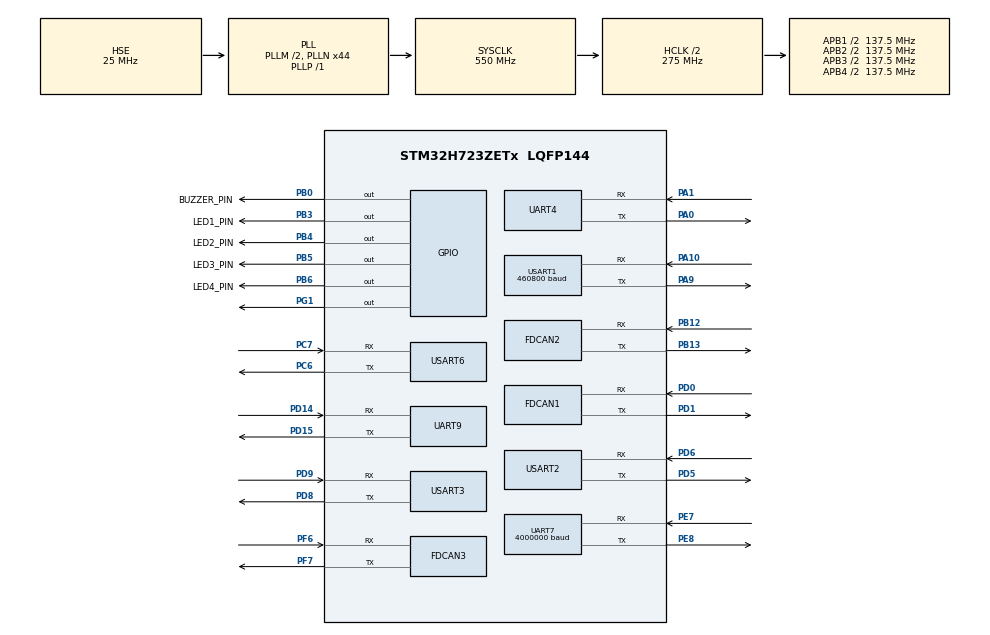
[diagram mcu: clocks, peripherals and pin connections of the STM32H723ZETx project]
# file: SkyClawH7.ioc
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CORTEX_M7.AccessPermission_S-Cortex_Memory_Protection_Unit_Region1_Settings_S=MPU_REGION_FULL_ACCESS
CORTEX_M7.AccessPermission_S-Cortex_Memory_Protection_Unit_Region2_Settings_S=MPU_REGION_FULL_ACCESS
CORTEX_M7.AccessPermission_Spec=MPU_REGION_FULL_ACCESS
CORTEX_M7.BaseAddress_S-Cortex_Memory_Protection_Unit_Region1_Settings_S=0x24040000
CORTEX_M7.BaseAddress_S-Cortex_Memory_Protection_Unit_Region2_Settings_S=0x30000000
CORTEX_M7.BaseAddress_Spec=0x24000000
CORTEX_M7.CPU_DCache=Enabled
CORTEX_M7.CPU_ICache=Enabled
CORTEX_M7.DisableExec_S-Cortex_Memory_Protection_Unit_Region1_Settings_S=MPU_INSTRUCTION_ACCESS_ENABLE
CORTEX_M7.DisableExec_S-Cortex_Memory_Protection_Unit_Region2_Settings_S=MPU_INSTRUCTION_ACCESS_DISABLE
CORTEX_M7.DisableExec_Spec=MPU_INSTRUCTION_ACCESS_ENABLE
CORTEX_M7.Enable_S-Cortex_Memory_Protection_Unit_Region1_Settings_S=MPU_REGION_ENABLE
CORTEX_M7.Enable_S-Cortex_Memory_Protection_Unit_Region2_Settings_S=MPU_REGION_ENABLE
CORTEX_M7.IsBufferable_S-Cortex_Memory_Protection_Unit_Region1_Settings_S=MPU_ACCESS_BUFFERABLE
CORTEX_M7.IsBufferable_S-Cortex_Memory_Protection_Unit_Region2_Settings_S=MPU_ACCESS_NOT_BUFFERABLE
CORTEX_M7.IsBufferable_Spec=MPU_ACCESS_BUFFERABLE
CORTEX_M7.IsCacheable_S-Cortex_Memory_Protection_Unit_Region1_Settings_S=MPU_ACCESS_CACHEABLE
CORTEX_M7.IsCacheable_S-Cortex_Memory_Protection_Unit_Region2_Settings_S=MPU_ACCESS_NOT_CACHEABLE
CORTEX_M7.IsCacheable_Spec=MPU_ACCESS_CACHEABLE
CORTEX_M7.IsShareable_S-Cortex_Memory_Protection_Unit_Region1_Settings_S=MPU_ACCESS_NOT_SHAREABLE
CORTEX_M7.IsShareable_S-Cortex_Memory_Protection_Unit_Region2_Settings_S=MPU_ACCESS_NOT_SHAREABLE
CORTEX_M7.IsShareable_Spec=MPU_ACCESS_NOT_SHAREABLE
CORTEX_M7.Size_S-Cortex_Memory_Protection_Unit_Region1_Settings_S=MPU_REGION_SIZE_64KB
CORTEX_M7.Size_S-Cortex_Memory_Protection_Unit_Region2_Settings_S=MPU_REGION_SIZE_32KB
CORTEX_M7.Size_Spec=MPU_REGION_SIZE_256KB
CORTEX_M7.SubRegionDisable_S-Cortex_Memory_Protection_Unit_Region1_Settings_S=0
CORTEX_M7.SubRegionDisable_S-Cortex_Memory_Protection_Unit_Region2_Settings_S=0
CORTEX_M7.SubRegionDisable_Spec=0
CORTEX_M7.TypeExtField_S-Cortex_Memory_Protection_Unit_Region1_Settings_S=MPU_TEX_LEVEL1
CORTEX_M7.TypeExtField_S-Cortex_Memory_Protection_Unit_Region2_Settings_S=MPU_TEX_LEVEL1
CORTEX_M7.TypeExtField_Spec=MPU_TEX_LEVEL1
CORTEX_M7.default_mode_Activation=1
Dma.Request0=UART4_RX
Dma.Request1=UART4_TX
Dma.Request10=USART6_RX
Dma.Request11=USART6_TX
Dma.Request2=UART7_RX
Dma.Request3=UART7_TX
Dma.Request4=UART9_RX
Dma.Request5=UART9_TX
Dma.Request6=USART1_RX
Dma.Request7=USART1_TX
Dma.Request8=USART3_RX
Dma.Request9=USART3_TX
Dma.UART4_RX.0.Direction=DMA_PERIPH_TO_MEMORY
Dma.UART4_RX.0.EventEnable=DISABLE
Dma.UART4_RX.0.FIFOMode=DMA_FIFOMODE_DISABLE
Dma.UART4_RX.0.Instance=DMA1_Stream0
Dma.UART4_RX.0.MemDataAlignment=DMA_MDATAALIGN_BYTE
Dma.UART4_RX.0.MemInc=DMA_MINC_ENABLE
Dma.UART4_RX.0.Mode=DMA_NORMAL
Dma.UART4_RX.0.PeriphDataAlignment=DMA_PDATAALIGN_BYTE
Dma.UART4_RX.0.PeriphInc=DMA_PINC_DISABLE
Dma.UART4_RX.0.Polarity=HAL_DMAMUX_REQ_GEN_RISING
Dma.UART4_RX.0.Priority=DMA_PRIORITY_LOW
Dma.UART4_RX.0.RequestNumber=1
Dma.UART4_RX.0.SignalID=NONE
Dma.UART4_RX.0.SyncEnable=DISABLE
Dma.UART4_RX.0.SyncPolarity=HAL_DMAMUX_SYNC_NO_EVENT
Dma.UART4_RX.0.SyncRequestNumber=1
Dma.UART4_RX.0.SyncSignalID=NONE
Dma.UART4_TX.1.Direction=DMA_MEMORY_TO_PERIPH
Dma.UART4_TX.1.EventEnable=DISABLE
Dma.UART4_TX.1.FIFOMode=DMA_FIFOMODE_DISABLE
Dma.UART4_TX.1.Instance=DMA1_Stream1
Dma.UART4_TX.1.MemDataAlignment=DMA_MDATAALIGN_BYTE
Dma.UART4_TX.1.MemInc=DMA_MINC_ENABLE
Dma.UART4_TX.1.Mode=DMA_NORMAL
Dma.UART4_TX.1.PeriphDataAlignment=DMA_PDATAALIGN_BYTE
Dma.UART4_TX.1.PeriphInc=DMA_PINC_DISABLE
Dma.UART4_TX.1.Polarity=HAL_DMAMUX_REQ_GEN_RISING
Dma.UART4_TX.1.Priority=DMA_PRIORITY_LOW
Dma.UART4_TX.1.RequestNumber=1
Dma.UART4_TX.1.SignalID=NONE
Dma.UART4_TX.1.SyncEnable=DISABLE
Dma.UART4_TX.1.SyncPolarity=HAL_DMAMUX_SYNC_NO_EVENT
Dma.UART4_TX.1.SyncRequestNumber=1
Dma.UART4_TX.1.SyncSignalID=NONE
Dma.UART7_RX.2.Direction=DMA_PERIPH_TO_MEMORY
Dma.UART7_RX.2.EventEnable=DISABLE
Dma.UART7_RX.2.FIFOMode=DMA_FIFOMODE_ENABLE
Dma.UART7_RX.2.FIFOThreshold=DMA_FIFO_THRESHOLD_FULL
Dma.UART7_RX.2.Instance=DMA1_Stream2
Dma.UART7_RX.2.MemBurst=DMA_MBURST_SINGLE
Dma.UART7_RX.2.MemDataAlignment=DMA_MDATAALIGN_BYTE
Dma.UART7_RX.2.MemInc=DMA_MINC_ENABLE
Dma.UART7_RX.2.Mode=DMA_CIRCULAR
Dma.UART7_RX.2.PeriphBurst=DMA_PBURST_SINGLE
Dma.UART7_RX.2.PeriphDataAlignment=DMA_PDATAALIGN_BYTE
Dma.UART7_RX.2.PeriphInc=DMA_PINC_DISABLE
Dma.UART7_RX.2.Polarity=HAL_DMAMUX_REQ_GEN_RISING
Dma.UART7_RX.2.Priority=DMA_PRIORITY_VERY_HIGH
Dma.UART7_RX.2.RequestNumber=1
Dma.UART7_RX.2.SignalID=NONE
Dma.UART7_RX.2.SyncEnable=DISABLE
Dma.UART7_RX.2.SyncPolarity=HAL_DMAMUX_SYNC_NO_EVENT
Dma.UART7_RX.2.SyncRequestNumber=1
Dma.UART7_RX.2.SyncSignalID=NONE
Dma.UART7_TX.3.Direction=DMA_MEMORY_TO_PERIPH
Dma.UART7_TX.3.EventEnable=DISABLE
Dma.UART7_TX.3.FIFOMode=DMA_FIFOMODE_ENABLE
Dma.UART7_TX.3.FIFOThreshold=DMA_FIFO_THRESHOLD_FULL
Dma.UART7_TX.3.Instance=DMA1_Stream3
Dma.UART7_TX.3.MemBurst=DMA_MBURST_SINGLE
Dma.UART7_TX.3.MemDataAlignment=DMA_MDATAALIGN_BYTE
Dma.UART7_TX.3.MemInc=DMA_MINC_ENABLE
Dma.UART7_TX.3.Mode=DMA_NORMAL
Dma.UART7_TX.3.PeriphBurst=DMA_PBURST_SINGLE
Dma.UART7_TX.3.PeriphDataAlignment=DMA_PDATAALIGN_BYTE
Dma.UART7_TX.3.PeriphInc=DMA_PINC_DISABLE
Dma.UART7_TX.3.Polarity=HAL_DMAMUX_REQ_GEN_RISING
Dma.UART7_TX.3.Priority=DMA_PRIORITY_VERY_HIGH
Dma.UART7_TX.3.RequestNumber=1
Dma.UART7_TX.3.SignalID=NONE
Dma.UART7_TX.3.SyncEnable=DISABLE
Dma.UART7_TX.3.SyncPolarity=HAL_DMAMUX_SYNC_NO_EVENT
Dma.UART7_TX.3.SyncRequestNumber=1
Dma.UART7_TX.3.SyncSignalID=NONE
Dma.UART9_RX.4.Direction=DMA_PERIPH_TO_MEMORY
Dma.UART9_RX.4.EventEnable=DISABLE
Dma.UART9_RX.4.FIFOMode=DMA_FIFOMODE_DISABLE
Dma.UART9_RX.4.Instance=DMA1_Stream4
Dma.UART9_RX.4.MemDataAlignment=DMA_MDATAALIGN_BYTE
Dma.UART9_RX.4.MemInc=DMA_MINC_ENABLE
Dma.UART9_RX.4.Mode=DMA_NORMAL
Dma.UART9_RX.4.PeriphDataAlignment=DMA_PDATAALIGN_BYTE
Dma.UART9_RX.4.PeriphInc=DMA_PINC_DISABLE
Dma.UART9_RX.4.Polarity=HAL_DMAMUX_REQ_GEN_RISING
Dma.UART9_RX.4.Priority=DMA_PRIORITY_LOW
Dma.UART9_RX.4.RequestNumber=1
Dma.UART9_RX.4.SignalID=NONE
Dma.UART9_RX.4.SyncEnable=DISABLE
Dma.UART9_RX.4.SyncPolarity=HAL_DMAMUX_SYNC_NO_EVENT
Dma.UART9_RX.4.SyncRequestNumber=1
Dma.UART9_RX.4.SyncSignalID=NONE
Dma.UART9_TX.5.Direction=DMA_MEMORY_TO_PERIPH
Dma.UART9_TX.5.EventEnable=DISABLE
Dma.UART9_TX.5.FIFOMode=DMA_FIFOMODE_DISABLE
Dma.UART9_TX.5.Instance=DMA1_Stream5
Dma.UART9_TX.5.MemDataAlignment=DMA_MDATAALIGN_BYTE
Dma.UART9_TX.5.MemInc=DMA_MINC_ENABLE
Dma.UART9_TX.5.Mode=DMA_NORMAL
Dma.UART9_TX.5.PeriphDataAlignment=DMA_PDATAALIGN_BYTE
Dma.UART9_TX.5.PeriphInc=DMA_PINC_DISABLE
Dma.UART9_TX.5.Polarity=HAL_DMAMUX_REQ_GEN_RISING
Dma.UART9_TX.5.Priority=DMA_PRIORITY_LOW
Dma.UART9_TX.5.RequestNumber=1
Dma.UART9_TX.5.SignalID=NONE
Dma.UART9_TX.5.SyncEnable=DISABLE
Dma.UART9_TX.5.SyncPolarity=HAL_DMAMUX_SYNC_NO_EVENT
Dma.UART9_TX.5.SyncRequestNumber=1
Dma.UART9_TX.5.SyncSignalID=NONE
Dma.USART1_RX.6.Direction=DMA_PERIPH_TO_MEMORY
Dma.USART1_RX.6.EventEnable=DISABLE
Dma.USART1_RX.6.FIFOMode=DMA_FIFOMODE_DISABLE
Dma.USART1_RX.6.Instance=DMA1_Stream6
Dma.USART1_RX.6.MemDataAlignment=DMA_MDATAALIGN_BYTE
Dma.USART1_RX.6.MemInc=DMA_MINC_ENABLE
Dma.USART1_RX.6.Mode=DMA_NORMAL
Dma.USART1_RX.6.PeriphDataAlignment=DMA_PDATAALIGN_BYTE
Dma.USART1_RX.6.PeriphInc=DMA_PINC_DISABLE
Dma.USART1_RX.6.Polarity=HAL_DMAMUX_REQ_GEN_RISING
Dma.USART1_RX.6.Priority=DMA_PRIORITY_MEDIUM
Dma.USART1_RX.6.RequestNumber=1
Dma.USART1_RX.6.SignalID=NONE
Dma.USART1_RX.6.SyncEnable=DISABLE
Dma.USART1_RX.6.SyncPolarity=HAL_DMAMUX_SYNC_NO_EVENT
Dma.USART1_RX.6.SyncRequestNumber=1
Dma.USART1_RX.6.SyncSignalID=NONE
Dma.USART1_TX.7.Direction=DMA_MEMORY_TO_PERIPH
Dma.USART1_TX.7.EventEnable=DISABLE
Dma.USART1_TX.7.FIFOMode=DMA_FIFOMODE_DISABLE
Dma.USART1_TX.7.Instance=DMA1_Stream7
Dma.USART1_TX.7.MemDataAlignment=DMA_MDATAALIGN_BYTE
Dma.USART1_TX.7.MemInc=DMA_MINC_ENABLE
Dma.USART1_TX.7.Mode=DMA_NORMAL
Dma.USART1_TX.7.PeriphDataAlignment=DMA_PDATAALIGN_BYTE
Dma.USART1_TX.7.PeriphInc=DMA_PINC_DISABLE
Dma.USART1_TX.7.Polarity=HAL_DMAMUX_REQ_GEN_RISING
Dma.USART1_TX.7.Priority=DMA_PRIORITY_MEDIUM
Dma.USART1_TX.7.RequestNumber=1
Dma.USART1_TX.7.SignalID=NONE
Dma.USART1_TX.7.SyncEnable=DISABLE
Dma.USART1_TX.7.SyncPolarity=HAL_DMAMUX_SYNC_NO_EVENT
Dma.USART1_TX.7.SyncRequestNumber=1
Dma.USART1_TX.7.SyncSignalID=NONE
Dma.USART3_RX.8.Direction=DMA_PERIPH_TO_MEMORY
Dma.USART3_RX.8.EventEnable=DISABLE
Dma.USART3_RX.8.FIFOMode=DMA_FIFOMODE_DISABLE
Dma.USART3_RX.8.Instance=DMA2_Stream0
Dma.USART3_RX.8.MemDataAlignment=DMA_MDATAALIGN_BYTE
Dma.USART3_RX.8.MemInc=DMA_MINC_ENABLE
Dma.USART3_RX.8.Mode=DMA_NORMAL
Dma.USART3_RX.8.PeriphDataAlignment=DMA_PDATAALIGN_BYTE
Dma.USART3_RX.8.PeriphInc=DMA_PINC_DISABLE
Dma.USART3_RX.8.Polarity=HAL_DMAMUX_REQ_GEN_RISING
Dma.USART3_RX.8.Priority=DMA_PRIORITY_MEDIUM
Dma.USART3_RX.8.RequestNumber=1
Dma.USART3_RX.8.SignalID=NONE
Dma.USART3_RX.8.SyncEnable=DISABLE
Dma.USART3_RX.8.SyncPolarity=HAL_DMAMUX_SYNC_NO_EVENT
Dma.USART3_RX.8.SyncRequestNumber=1
Dma.USART3_RX.8.SyncSignalID=NONE
Dma.USART3_TX.9.Direction=DMA_MEMORY_TO_PERIPH
Dma.USART3_TX.9.EventEnable=DISABLE
Dma.USART3_TX.9.FIFOMode=DMA_FIFOMODE_DISABLE
Dma.USART3_TX.9.Instance=DMA2_Stream1
Dma.USART3_TX.9.MemDataAlignment=DMA_MDATAALIGN_BYTE
Dma.USART3_TX.9.MemInc=DMA_MINC_ENABLE
Dma.USART3_TX.9.Mode=DMA_NORMAL
Dma.USART3_TX.9.PeriphDataAlignment=DMA_PDATAALIGN_BYTE
Dma.USART3_TX.9.PeriphInc=DMA_PINC_DISABLE
Dma.USART3_TX.9.Polarity=HAL_DMAMUX_REQ_GEN_RISING
Dma.USART3_TX.9.Priority=DMA_PRIORITY_LOW
Dma.USART3_TX.9.RequestNumber=1
Dma.USART3_TX.9.SignalID=NONE
Dma.USART3_TX.9.SyncEnable=DISABLE
Dma.USART3_TX.9.SyncPolarity=HAL_DMAMUX_SYNC_NO_EVENT
Dma.USART3_TX.9.SyncRequestNumber=1
Dma.USART3_TX.9.SyncSignalID=NONE
Dma.USART6_RX.10.Direction=DMA_PERIPH_TO_MEMORY
Dma.USART6_RX.10.EventEnable=DISABLE
Dma.USART6_RX.10.FIFOMode=DMA_FIFOMODE_DISABLE
Dma.USART6_RX.10.Instance=DMA2_Stream2
Dma.USART6_RX.10.MemDataAlignment=DMA_MDATAALIGN_BYTE
Dma.USART6_RX.10.MemInc=DMA_MINC_ENABLE
Dma.USART6_RX.10.Mode=DMA_NORMAL
Dma.USART6_RX.10.PeriphDataAlignment=DMA_PDATAALIGN_BYTE
Dma.USART6_RX.10.PeriphInc=DMA_PINC_DISABLE
Dma.USART6_RX.10.Polarity=HAL_DMAMUX_REQ_GEN_RISING
Dma.USART6_RX.10.Priority=DMA_PRIORITY_HIGH
Dma.USART6_RX.10.RequestNumber=1
Dma.USART6_RX.10.SignalID=NONE
Dma.USART6_RX.10.SyncEnable=DISABLE
Dma.USART6_RX.10.SyncPolarity=HAL_DMAMUX_SYNC_NO_EVENT
Dma.USART6_RX.10.SyncRequestNumber=1
Dma.USART6_RX.10.SyncSignalID=NONE
Dma.USART6_TX.11.Direction=DMA_MEMORY_TO_PERIPH
Dma.USART6_TX.11.EventEnable=DISABLE
Dma.USART6_TX.11.FIFOMode=DMA_FIFOMODE_DISABLE
Dma.USART6_TX.11.Instance=DMA2_Stream3
Dma.USART6_TX.11.MemDataAlignment=DMA_MDATAALIGN_BYTE
Dma.USART6_TX.11.MemInc=DMA_MINC_ENABLE
Dma.USART6_TX.11.Mode=DMA_NORMAL
Dma.USART6_TX.11.PeriphDataAlignment=DMA_PDATAALIGN_BYTE
Dma.USART6_TX.11.PeriphInc=DMA_PINC_DISABLE
Dma.USART6_TX.11.Polarity=HAL_DMAMUX_REQ_GEN_RISING
Dma.USART6_TX.11.Priority=DMA_PRIORITY_MEDIUM
Dma.USART6_TX.11.RequestNumber=1
Dma.USART6_TX.11.SignalID=NONE
Dma.USART6_TX.11.SyncEnable=DISABLE
Dma.USART6_TX.11.SyncPolarity=HAL_DMAMUX_SYNC_NO_EVENT
Dma.USART6_TX.11.SyncRequestNumber=1
Dma.USART6_TX.11.SyncSignalID=NONE
FDCAN1.AutoRetransmission=DISABLE
FDCAN1.CalculateBaudRateNominal=1000000
FDCAN1.CalculateTimeBitNominal=1000
FDCAN1.CalculateTimeQuantumNominal=25.0
FDCAN1.DataSyncJumpWidth=5
FDCAN1.DataTimeSeg1=29
FDCAN1.DataTimeSeg2=10
FDCAN1.ExtFiltersNbr=16
FDCAN1.NominalPrescaler=1
FDCAN1.NominalSyncJumpWidth=5
FDCAN1.NominalTimeSeg1=29
FDCAN1.NominalTimeSeg2=10
FDCAN1.RxFifo0ElmtsNbr=32
FDCAN1.RxFifo1ElmtsNbr=32
FDCAN1.StdFiltersNbr=16
FDCAN1.TxBuffersNbr=0
FDCAN1.TxFifoQueueElmtsNbr=24
FDCAN2.CalculateBaudRateNominal=1000000
FDCAN2.CalculateTimeBitNominal=1000
FDCAN2.CalculateTimeQuantumNominal=25.0
FDCAN2.DataSyncJumpWidth=5
FDCAN2.DataTimeSeg1=29
FDCAN2.DataTimeSeg2=10
FDCAN2.ExtFiltersNbr=16
FDCAN2.MessageRAMOffset=850
FDCAN2.NominalPrescaler=1
FDCAN2.NominalSyncJumpWidth=5
FDCAN2.NominalTimeSeg1=29
FDCAN2.NominalTimeSeg2=10
FDCAN2.RxFifo0ElmtsNbr=32
FDCAN2.RxFifo1ElmtsNbr=32
FDCAN2.StdFiltersNbr=16
FDCAN2.TxBuffersNbr=0
FDCAN2.TxFifoQueueElmtsNbr=24
FDCAN3.CalculateBaudRateNominal=1000000
FDCAN3.CalculateTimeBitNominal=1000
FDCAN3.CalculateTimeQuantumNominal=25.0
FDCAN3.DataSyncJumpWidth=5
FDCAN3.DataTimeSeg1=29
FDCAN3.DataTimeSeg2=10
FDCAN3.ExtFiltersNbr=16
FDCAN3.MessageRAMOffset=1700
FDCAN3.NominalPrescaler=1
FDCAN3.NominalSyncJumpWidth=5
FDCAN3.NominalTimeSeg1=29
FDCAN3.NominalTimeSeg2=10
FDCAN3.RxFifo0ElmtsNbr=32
FDCAN3.RxFifo1ElmtsNbr=32
FDCAN3.StdFiltersNbr=16
FDCAN3.TxBuffersNbr=0
FDCAN3.TxFifoQueueElmtsNbr=24
FREERTOS.Tasks01=AlarmTask,16,106,Alarm_Task,As weak,NULL,Dynamic,NULL,NULL
FREERTOS.configMINIMAL_STACK_SIZE=64
FREERTOS.configTIMER_TASK_STACK_DEPTH=256
Mcu.Family=STM32H7
Mcu.Name=STM32H723ZETx
Mcu.Package=LQFP144
NVIC.DMA1_Stream0_IRQn=true\:5\:0\:false\:false\:true\:true\:false\:true\:true
NVIC.DMA1_Stream1_IRQn=true\:5\:0\:false\:false\:true\:true\:false\:true\:true
NVIC.DMA1_Stream2_IRQn=true\:5\:0\:false\:false\:true\:true\:false\:true\:true
NVIC.DMA1_Stream3_IRQn=true\:5\:0\:false\:false\:true\:true\:false\:true\:true
NVIC.DMA1_Stream4_IRQn=true\:5\:0\:false\:false\:true\:true\:false\:true\:true
NVIC.DMA1_Stream5_IRQn=true\:5\:0\:false\:false\:true\:true\:false\:true\:true
NVIC.DMA1_Stream6_IRQn=true\:5\:0\:false\:false\:true\:true\:false\:true\:true
NVIC.DMA1_Stream7_IRQn=true\:5\:0\:false\:false\:true\:true\:false\:true\:true
NVIC.DMA2_Stream0_IRQn=true\:5\:0\:false\:false\:true\:true\:false\:true\:true
NVIC.DMA2_Stream1_IRQn=true\:5\:0\:false\:false\:true\:true\:false\:true\:true
NVIC.DMA2_Stream2_IRQn=true\:5\:0\:false\:false\:true\:true\:false\:true\:true
NVIC.DMA2_Stream3_IRQn=true\:5\:0\:false\:false\:true\:true\:false\:true\:true
NVIC.FDCAN1_IT0_IRQn=true\:5\:0\:false\:false\:true\:true\:true\:true\:true
NVIC.FDCAN1_IT1_IRQn=true\:5\:0\:false\:false\:true\:true\:true\:true\:true
NVIC.FDCAN2_IT0_IRQn=true\:5\:0\:false\:false\:true\:true\:true\:true\:true
NVIC.FDCAN2_IT1_IRQn=true\:5\:0\:false\:false\:true\:true\:true\:true\:true
NVIC.FDCAN3_IT0_IRQn=true\:5\:0\:false\:false\:true\:true\:true\:true\:true
NVIC.FDCAN3_IT1_IRQn=true\:5\:0\:false\:false\:true\:true\:true\:true\:true
NVIC.PriorityGroup=NVIC_PRIORITYGROUP_4
NVIC.TIM1_UP_IRQn=true\:15\:0\:false\:false\:true\:false\:false\:true\:true
NVIC.TIM2_IRQn=true\:5\:0\:false\:false\:true\:true\:true\:true\:true
NVIC.TIM3_IRQn=true\:5\:0\:false\:false\:true\:true\:true\:true\:true
NVIC.TIM4_IRQn=true\:5\:0\:false\:false\:true\:true\:true\:true\:true
NVIC.TimeBase=TIM1_UP_IRQn
NVIC.TimeBaseIP=TIM1
NVIC.UART4_IRQn=true\:5\:0\:false\:false\:true\:true\:true\:true\:true
NVIC.UART7_IRQn=true\:5\:0\:false\:false\:true\:true\:true\:true\:true
NVIC.UART9_IRQn=true\:5\:0\:false\:false\:true\:true\:true\:true\:true
NVIC.USART1_IRQn=true\:5\:0\:false\:false\:true\:true\:true\:true\:true
NVIC.USART2_IRQn=true\:5\:0\:false\:false\:true\:true\:true\:true\:true
NVIC.USART3_IRQn=true\:5\:0\:false\:false\:true\:true\:true\:true\:true
NVIC.USART6_IRQn=true\:5\:0\:false\:false\:true\:true\:true\:true\:true
PA0.Mode=Asynchronous
PA0.Signal=UART4_TX
PA1.Mode=Asynchronous
PA1.Signal=UART4_RX
PA10.Mode=Asynchronous
PA10.Signal=USART1_RX
PA13(JTMS/SWDIO).Mode=Serial_Wire
PA13(JTMS/SWDIO).Signal=DEBUG_JTMS-SWDIO
PA14(JTCK/SWCLK).Mode=Serial_Wire
PA14(JTCK/SWCLK).Signal=DEBUG_JTCK-SWCLK
PA9.Mode=Asynchronous
PA9.Signal=USART1_TX
PB0.GPIO_Label=BUZZER_PIN
PB0.Signal=GPIO_Output
PB12.GPIO_PuPd=GPIO_NOPULL
PB12.Mode=FDCAN_Activate
PB12.Signal=FDCAN2_RX
PB13.GPIO_PuPd=GPIO_NOPULL
PB13.Mode=FDCAN_Activate
PB13.Signal=FDCAN2_TX
PB3(JTDO/TRACESWO).GPIO_Label=LED1_PIN
PB3(JTDO/TRACESWO).Signal=GPIO_Output
PB4(NJTRST).GPIO_Label=LED2_PIN
PB4(NJTRST).Signal=GPIO_Output
PB5.GPIO_Label=LED3_PIN
PB5.Signal=GPIO_Output
PB6.GPIO_Label=LED4_PIN
PB6.Signal=GPIO_Output
PC6.Mode=Asynchronous
PC6.Signal=USART6_TX
PC7.Mode=Asynchronous
PC7.Signal=USART6_RX
PD0.GPIO_PuPd=GPIO_NOPULL
PD0.Mode=FDCAN_Activate
PD0.Signal=FDCAN1_RX
PD1.GPIO_PuPd=GPIO_NOPULL
PD1.Mode=FDCAN_Activate
PD1.Signal=FDCAN1_TX
PD14.Mode=Asynchronous
PD14.Signal=UART9_RX
PD15.Mode=Asynchronous
PD15.Signal=UART9_TX
PD5.Mode=Asynchronous
PD5.Signal=USART2_TX
PD6.Mode=Asynchronous
PD6.Signal=USART2_RX
PD8.Mode=Asynchronous
PD8.Signal=USART3_TX
PD9.Mode=Asynchronous
PD9.Signal=USART3_RX
PE7.GPIO_Speed=GPIO_SPEED_FREQ_VERY_HIGH
PE7.Mode=Asynchronous
PE7.Signal=UART7_RX
PE8.GPIO_Speed=GPIO_SPEED_FREQ_VERY_HIGH
PE8.Mode=Asynchronous
PE8.Signal=UART7_TX
PF6.GPIO_PuPd=GPIO_NOPULL
PF6.Mode=FDCAN_Activate
PF6.Signal=FDCAN3_RX
PF7.GPIO_PuPd=GPIO_NOPULL
PF7.Mode=FDCAN_Activate
PF7.Signal=FDCAN3_TX
PG1.Signal=GPIO_Output
PH0-OSC_IN.Mode=HSE-External-Oscillator
PH0-OSC_IN.Signal=RCC_OSC_IN
PH1-OSC_OUT.Mode=HSE-External-Oscillator
PH1-OSC_OUT.Signal=RCC_OSC_OUT
ProjectManager.HeapSize=0x200
ProjectManager.StackSize=0x400
ProjectManager.TargetToolchain=MDK-ARM V5.32
RCC.ADCFreq_Value=100000000
RCC.APB1Freq_Value=137500000
RCC.APB2Freq_Value=137500000
RCC.APB3Freq_Value=137500000
RCC.APB4Freq_Value=137500000
RCC.CortexFreq_Value=550000000
RCC.D1PPRE=RCC_APB3_DIV2
RCC.D2PPRE1=RCC_APB1_DIV2
RCC.D2PPRE2=RCC_APB2_DIV2
RCC.D3PPRE=RCC_APB4_DIV2
RCC.DIVM1=2
RCC.DIVM2=2
RCC.DIVM3=2
RCC.DIVN1=44
RCC.DIVN2=16
RCC.DIVN3=16
RCC.DIVP1=1
RCC.DIVQ1=4
RCC.DIVQ2=5
RCC.FDCANCLockSelection=RCC_FDCANCLKSOURCE_PLL2
RCC.HCLKFreq_Value=275000000
RCC.HPRE=RCC_HCLK_DIV2
RCC.PLL2FRACN=0
RCC.PLL3FRACN=0
RCC.PLLFRACN=0
RCC.PLLSourceVirtual=RCC_PLLSOURCE_HSE
RCC.SYSCLKFreq_VALUE=550000000
RCC.SYSCLKSource=RCC_SYSCLKSOURCE_PLLCLK
RCC.USBFreq_Value=137500000
STMicroelectronics.X-CUBE-ALGOBUILD.1.5.0.LibraryCcDSPOoLibraryJjDSPOoLibrary=true
TIM2.Period=999
TIM2.Prescaler=274
TIM3.Period=1999
TIM3.Prescaler=274
TIM4.Period=4999
TIM4.Prescaler=274
TIM5.Period=999
TIM5.Prescaler=274
UART7.BaudRate=4000000
USART1.BaudRate=460800
USART1.VirtualMode-Asynchronous=VM_ASYNC
USART2.VirtualMode-Asynchronous=VM_ASYNC
USART3.VirtualMode-Asynchronous=VM_ASYNC
USART6.VirtualMode-Asynchronous=VM_ASYNC
VP_FREERTOS_VS_CMSIS_V2.Mode=CMSIS_V2
VP_MEMORYMAP_VS_MEMORYMAP.Mode=CurAppReg
VP_STMicroelectronics.X-CUBE-ALGOBUILD_VS_DSPOoLibraryJjLibrary_1.5.0_1.5.0.Mode=DSPOoLibraryJjLibrary
VP_SYS_VS_tim1.Mode=TIM1
VP_TIM2_VS_ClockSourceINT.Mode=Internal
VP_TIM3_VS_ClockSourceINT.Mode=Internal
VP_TIM4_VS_ClockSourceINT.Mode=Internal
VP_TIM5_VS_ClockSourceINT.Mode=Internal
board=custom

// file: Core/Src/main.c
/* USER CODE BEGIN Header */
/**
  ******************************************************************************
  * @file           : main.c
  * @brief          : Main program body
  ******************************************************************************
  * @attention
  *
  * Copyright (c) 2026 STMicroelectronics.
  * All rights reserved.
  *
  * This software is licensed under terms that can be found in the LICENSE file
  * in the root directory of this software component.
  * If no LICENSE file comes with this software, it is provided AS-IS.
  *
  ******************************************************************************
  */
/* USER CODE END Header */
#include "main.h"
#include "FreeRTOS.h"
#include "cmsis_os2.h"
#include "dma.h"
#include "fdcan.h"
#include "tim.h"
#include "usart.h"
#include "gpio.h"

/* USER CODE BEGIN Includes */
// #include "EventRecorder.h"

#include "includes.h"
#include "motor_cfg.h"
#include "can_queue.h"
#include "ZDrive.h"
#include "DJmotor.h"
#include "VescMotor.h"
#include "UnitreeMotor.h"
#include "buzzer.h"
#include "solenoid.h"
#include "led.h"
#include "app_cfg.h"
#include "bluetooth.h"
#include "imu.h"
#include "vofa.h"
#include "TIM_IRQHandler.h" /* USER_TIM_PeriodElapsedCallback(IRQ 层) */

/* USER CODE END Includes */

void SystemClock_Config(void);
void PeriphCommonClock_Config(void);
static void MPU_Config(void);
void MX_FREERTOS_Init(void);

int main(void)
  {

  /* USER CODE BEGIN 1 */
	uint32_t *SourceAddr = (uint32_t *)FLASH_BANK1_BASE;
	uint32_t *DestAddr = (uint32_t *)D1_ITCMRAM_BASE;
	memcpy(DestAddr, SourceAddr, 0x400);
	SCB->VTOR = D1_ITCMRAM_BASE; //向量表重定向

  /* USER CODE END 1 */

  /* MPU Configuration--------------------------------------------------------*/
  MPU_Config();

  /* Enable the CPU Cache */

  /* Enable I-Cache---------------------------------------------------------*/
  SCB_EnableICache();

  /* Enable D-Cache---------------------------------------------------------*/
  SCB_EnableDCache();

  /* MCU Configuration--------------------------------------------------------*/

  /* Reset of all peripherals, Initializes the Flash interface and the Systick. */
  HAL_Init();

  /* Configure the system clock */
  SystemClock_Config();

  /* Configure the peripherals common clocks */
  PeriphCommonClock_Config();

  /* USER CODE BEGIN SysInit */
  // EventRecorderInitialize(EventRecordAll, 1U);
  /* USER CODE END SysInit */

  /* Initialize all configured peripherals */
  MX_GPIO_Init();
  MX_DMA_Init();
  MX_FDCAN1_Init();
  MX_FDCAN2_Init();
  MX_FDCAN3_Init();
  MX_UART4_Init();
  MX_UART7_Init();
  MX_UART9_Init();
  MX_USART1_UART_Init();
  MX_USART2_UART_Init();
  MX_USART3_UART_Init();
  MX_USART6_UART_Init();
  MX_TIM2_Init();
  MX_TIM3_Init();
  MX_TIM4_Init();
  MX_TIM5_Init();
  /* USER CODE BEGIN 2 */
  Led_Init();
  Buzzer_Init();
#if APP_START_BUZZER_ON_BOOT
  Buzzer_StartupBeep();
#endif
  CAN_InitSendQueue();
  CAN_Start();
#if USE_DJ
  DJmotor_Init();
#endif
#if USE_VESC
  VescInit();
#endif
#if USE_ZMDR
  ZdriveInit();
#endif
#if USE_UNITREE
  UnitreeMotor_Init();
#endif
  // 蓝牙模块:建队列、建收发任务(必须在 osKernelStart() 之前);
  Bluetooth_TaskCreate();
  // // IMU 模块:建队列、建解析任务;
  // Imu_TaskCreate();
  /* VOFA+ 模块:建发送任务(周期由调用处传入,不依赖 CubeMX 任务) */
#if APP_VOFA_ENABLE
  VOFA_TaskCreate(APP_VOFA_TASK_PERIOD_MS);
#endif
  /* 各 UART 接收由模块自己启动(蓝牙/IMU 的接收由各自的接收任务在进循环前启动,
     Unitree 在每帧命令发送完成后启动定长应答接收),main 里无需统一启动 */
  Solenoid_Init(SOLENOID_BUS1);
	// printf("Sys All Online \n");

  /* USER CODE END 2 */

  /* Init scheduler */
  osKernelInitialize();  /* Call init function for freertos objects (in cmsis_os2.c) */
  MX_FREERTOS_Init();

  /* Start scheduler */
  osKernelStart();

  /* We should never get here as control is now taken by the scheduler */

  /* Infinite loop */
  while (1)
  {

  }
}

void SystemClock_Config(void)
{
  RCC_OscInitTypeDef RCC_OscInitStruct = {0};
  RCC_ClkInitTypeDef RCC_ClkInitStruct = {0};

  /** Supply configuration update enable
  */
  HAL_PWREx_ConfigSupply(PWR_LDO_SUPPLY);

  /** Configure the main internal regulator output voltage
  */
  __HAL_PWR_VOLTAGESCALING_CONFIG(PWR_REGULATOR_VOLTAGE_SCALE0);

  while(!__HAL_PWR_GET_FLAG(PWR_FLAG_VOSRDY)) {}

  /** Initializes the RCC Oscillators according to the specified parameters
  * in the RCC_OscInitTypeDef structure.
  */
  RCC_OscInitStruct.OscillatorType = RCC_OSCILLATORTYPE_HSE;
  RCC_OscInitStruct.HSEState = RCC_HSE_ON;
  RCC_OscInitStruct.PLL.PLLState = RCC_PLL_ON;
  RCC_OscInitStruct.PLL.PLLSource = RCC_PLLSOURCE_HSE;
  RCC_OscInitStruct.PLL.PLLM = 2;
  RCC_OscInitStruct.PLL.PLLN = 44;
  RCC_OscInitStruct.PLL.PLLP = 1;
  RCC_OscInitStruct.PLL.PLLQ = 4;
  RCC_OscInitStruct.PLL.PLLR = 2;
  RCC_OscInitStruct.PLL.PLLRGE = RCC_PLL1VCIRANGE_3;
  RCC_OscInitStruct.PLL.PLLVCOSEL = RCC_PLL1VCOWIDE;
  RCC_OscInitStruct.PLL.PLLFRACN = 0;
  if (HAL_RCC_OscConfig(&RCC_OscInitStruct) != HAL_OK)
  {
    Error_Handler();
  }

  /** Initializes the CPU, AHB and APB buses clocks
  */
  RCC_ClkInitStruct.ClockType = RCC_CLOCKTYPE_HCLK|RCC_CLOCKTYPE_SYSCLK
                              |RCC_CLOCKTYPE_PCLK1|RCC_CLOCKTYPE_PCLK2
                              |RCC_CLOCKTYPE_D3PCLK1|RCC_CLOCKTYPE_D1PCLK1;
  RCC_ClkInitStruct.SYSCLKSource = RCC_SYSCLKSOURCE_PLLCLK;
  RCC_ClkInitStruct.SYSCLKDivider = RCC_SYSCLK_DIV1;
  RCC_ClkInitStruct.AHBCLKDivider = RCC_HCLK_DIV2;
  RCC_ClkInitStruct.APB3CLKDivider = RCC_APB3_DIV2;
  RCC_ClkInitStruct.APB1CLKDivider = RCC_APB1_DIV2;
  RCC_ClkInitStruct.APB2CLKDivider = RCC_APB2_DIV2;
  RCC_ClkInitStruct.APB4CLKDivider = RCC_APB4_DIV2;

  if (HAL_RCC_ClockConfig(&RCC_ClkInitStruct, FLASH_LATENCY_3) != HAL_OK)
  {
    Error_Handler();
  }
}

void PeriphCommonClock_Config(void)
{
  RCC_PeriphCLKInitTypeDef PeriphClkInitStruct = {0};

  /** Initializes the peripherals clock
  */
  PeriphClkInitStruct.PeriphClockSelection = RCC_PERIPHCLK_FDCAN;
  PeriphClkInitStruct.PLL2.PLL2M = 2;
  PeriphClkInitStruct.PLL2.PLL2N = 16;
  PeriphClkInitStruct.PLL2.PLL2P = 2;
  PeriphClkInitStruct.PLL2.PLL2Q = 5;
  PeriphClkInitStruct.PLL2.PLL2R = 2;
  PeriphClkInitStruct.PLL2.PLL2RGE = RCC_PLL2VCIRANGE_3;
  PeriphClkInitStruct.PLL2.PLL2VCOSEL = RCC_PLL2VCOWIDE;
  PeriphClkInitStruct.PLL2.PLL2FRACN = 0;
  PeriphClkInitStruct.FdcanClockSelection = RCC_FDCANCLKSOURCE_PLL2;
  if (HAL_RCCEx_PeriphCLKConfig(&PeriphClkInitStruct) != HAL_OK)
  {
    Error_Handler();
  }
}

 /* MPU Configuration */

void MPU_Config(void)
{
  MPU_Region_InitTypeDef MPU_InitStruct = {0};

  /* Disables the MPU */
  HAL_MPU_Disable();

  /** Initializes and configures the Region and the memory to be protected
  */
  MPU_InitStruct.Enable = MPU_REGION_ENABLE;
  MPU_InitStruct.Number = MPU_REGION_NUMBER0;
  MPU_InitStruct.BaseAddress = 0x24000000;
  MPU_InitStruct.Size = MPU_REGION_SIZE_256KB;
  MPU_InitStruct.SubRegionDisable = 0;
  MPU_InitStruct.TypeExtField = MPU_TEX_LEVEL1;
  MPU_InitStruct.AccessPermission = MPU_REGION_FULL_ACCESS;
  MPU_InitStruct.DisableExec = MPU_INSTRUCTION_ACCESS_ENABLE;
  MPU_InitStruct.IsShareable = MPU_ACCESS_NOT_SHAREABLE;
  MPU_InitStruct.IsCacheable = MPU_ACCESS_CACHEABLE;
  MPU_InitStruct.IsBufferable = MPU_ACCESS_BUFFERABLE;

  HAL_MPU_ConfigRegion(&MPU_InitStruct);

  /** Initializes and configures the Region and the memory to be protected
  */
  MPU_InitStruct.Number = MPU_REGION_NUMBER1;
  MPU_InitStruct.BaseAddress = 0x24040000;
  MPU_InitStruct.Size = MPU_REGION_SIZE_64KB;

  HAL_MPU_ConfigRegion(&MPU_InitStruct);

  /** Initializes and configures the Region and the memory to be protected

      Region 2 = D2 SRAM(0x30000000, 32KB),即 DMA 缓冲区(s_bt_rxbuf/s_bt_txbuf/
      vofa_buffer/s_imu_rxbuf/s_unitree_rxbuf),目标属性是
      **Normal / Outer and Inner Non-cacheable**:TEX=001, C=0, B=0, S=0。

      - 非 cacheable:CPU 与 DMA 共享这块内存,天然一致,不需要 cache 维护;
      - **必须是 Normal 内存**:Device / Strongly-ordered 内存禁止非对齐访问,
        而 Cortex-M7 上编译器默认允许用非对齐 LDR/STR 做结构体拷贝、定长 memcpy
        (例如往 s_bt_txbuf[1] 这种奇数地址写),一旦落在这块区域就会
        UsageFault(UNALIGNED)→ HardFault。
      - TEX/C/B 必须三个一起写:TEX=001 配 C=0 但 B=1 是保留编码,内存属性未定义
        (实测表现为禁止非对齐访问)。原来这里只改 IsCacheable,IsBufferable
        沿用了 Region 0 的 BUFFERABLE,就踩到了这个保留编码 —— 之前
        Bluetooth_BuildTxFrame 里 memcpy 到 s_bt_txbuf[1] 的 HardFault 即由此而来。
      - 这里显式写出每个字段,不再依赖结构体里上一个 Region 的残留值。
  */
  MPU_InitStruct.Number = MPU_REGION_NUMBER2;
  MPU_InitStruct.BaseAddress = 0x30000000;
  MPU_InitStruct.Size = MPU_REGION_SIZE_32KB;
  MPU_InitStruct.SubRegionDisable = 0;
  MPU_InitStruct.TypeExtField = MPU_TEX_LEVEL1;
  MPU_InitStruct.AccessPermission = MPU_REGION_FULL_ACCESS;
  MPU_InitStruct.DisableExec = MPU_INSTRUCTION_ACCESS_DISABLE;
  MPU_InitStruct.IsShareable = MPU_ACCESS_NOT_SHAREABLE;
  MPU_InitStruct.IsCacheable = MPU_ACCESS_NOT_CACHEABLE;
  MPU_InitStruct.IsBufferable = MPU_ACCESS_NOT_BUFFERABLE;

  HAL_MPU_ConfigRegion(&MPU_InitStruct);
  /* Enables the MPU */
  HAL_MPU_Enable(MPU_PRIVILEGED_DEFAULT);

}

void HAL_TIM_PeriodElapsedCallback(TIM_HandleTypeDef *htim)
{
  if (htim->Instance == TIM1)
  {
    HAL_IncTick();
  }
  /* USER CODE BEGIN Callback 1 */
  /* 其余定时器(TIM2 1kHz 电机调度等)统一交给 IRQ 层分发,见 IRQ/TIM_IRQHandler.c */
  USER_TIM_PeriodElapsedCallback(htim);

  /* USER CODE END Callback 1 */
}

void Error_Handler(void)
{
  __disable_irq();
  while (1)
  {
  }
}

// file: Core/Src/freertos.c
/* USER CODE BEGIN Header */
/**
  ******************************************************************************
  * File Name          : freertos.c
  * Description        : Code for freertos applications
  ******************************************************************************
  * @attention
  *
  * Copyright (c) 2026 STMicroelectronics.
  * All rights reserved.
  *
  * This software is licensed under terms that can be found in the LICENSE file
  * in the root directory of this software component.
  * If no LICENSE file comes with this software, it is provided AS-IS.
  *
  ******************************************************************************
  */
/* USER CODE END Header */

#include "FreeRTOS.h"
#include "task.h"
#include "main.h"
#include "FreeRTOS.h"
#include "cmsis_os2.h"

/* USER CODE BEGIN Includes */
#include "mechanism_app.h"
#include "tim.h"

/* USER CODE END Includes */

/* Definitions for AlarmTask */
osThreadId_t AlarmTaskHandle;
const osThreadAttr_t AlarmTask_attributes = {
  .name = "AlarmTask",
  .stack_size = 106 * 4,
  .priority = (osPriority_t) osPriorityBelowNormal,
};

void Alarm_Task(void *argument);

void MX_FREERTOS_Init(void); /* (MISRA C 2004 rule 8.1) */

void MX_FREERTOS_Init(void) {
  /* USER CODE BEGIN Init */
  /* 任务在 CubeMX 里创建,这里不需要额外初始化 */

  /* USER CODE END Init */

  /* Create the thread(s) */
  /* creation of AlarmTask */
  AlarmTaskHandle = osThreadNew(Alarm_Task, NULL, &AlarmTask_attributes);

  /* USER CODE BEGIN RTOS_THREADS */
  Mechanism_TaskCreate();
  if (HAL_TIM_Base_Start_IT(&htim2) != HAL_OK)
  {
    Error_Handler();
  }
  /* USER CODE END RTOS_THREADS */

}

__weak void Alarm_Task(void *argument)
{
  for(;;)
  {
    osDelay(1);
  }
}
